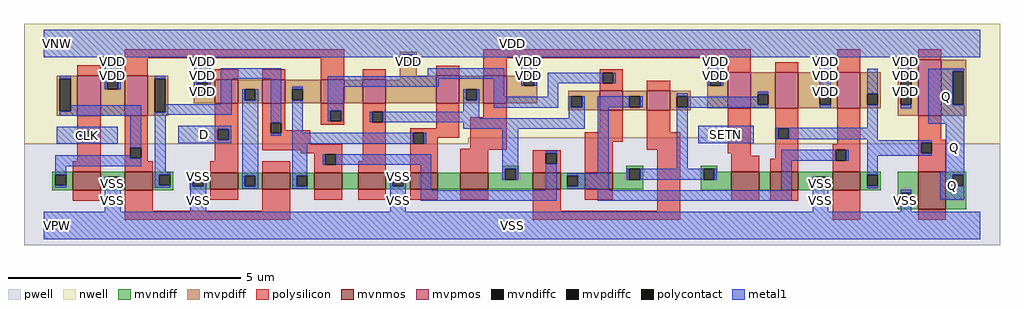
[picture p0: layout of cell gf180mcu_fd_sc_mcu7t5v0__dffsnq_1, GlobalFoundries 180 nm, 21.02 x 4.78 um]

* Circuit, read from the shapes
.subckt gf180mcu_fd_sc_mcu7t5v0__dffsnq_1 D SETN CLK Q VDD VNW VPW VSS
XM1 VSS CLK n1 VPW nfet_06v0 w=0.405u l=0.6u
XM2 n2 n1 VSS VPW nfet_06v0 w=0.405u l=0.6u
XM3 n3 D VSS VPW nfet_06v0 w=0.36u l=0.6u
XM4 n4 n1 n3 VPW nfet_06v0 w=0.36u l=0.6u
XM5 n5 n2 n4 VPW nfet_06v0 w=0.36u l=0.6u
XM6 VSS n6 n5 VPW nfet_06v0 w=0.36u l=0.6u
XM7 n7 n4 VSS VPW nfet_06v0 w=0.36u l=0.6u
XM8 n6 SETN n7 VPW nfet_06v0 w=0.36u l=0.6u
XM9 n8 n2 n6 VPW nfet_06v0 w=0.36u l=0.6u
XM10 n9 n1 n8 VPW nfet_06v0 w=0.36u l=0.6u
XM11 n10 SETN n9 VPW nfet_06v0 w=0.405u l=0.6u
XM12 VSS n11 n10 VPW nfet_06v0 w=0.405u l=0.6u
XM13 n11 n8 VSS VPW nfet_06v0 w=0.405u l=0.6u
XM14 Q n11 VSS VPW nfet_06v0 w=0.815u l=0.6u
XM15 VDD CLK n1 VNW pfet_06v0 w=0.865u l=0.5u
XM16 n2 n1 VDD VNW pfet_06v0 w=0.865u l=0.5u
XM17 n3 D VDD VNW pfet_06v0 w=0.505u l=0.5u
XM18 n4 n2 n3 VNW pfet_06v0 w=0.505u l=0.5u
XM19 n12 n1 n4 VNW pfet_06v0 w=0.505u l=0.5u
XM20 VDD n6 n12 VNW pfet_06v0 w=0.505u l=0.5u
XM21 n6 n4 VDD VNW pfet_06v0 w=0.585u l=0.5u
XM22 VDD SETN n6 VNW pfet_06v0 w=0.585u l=0.5u
XM23 n8 n1 n6 VNW pfet_06v0 w=0.415u l=0.5u
XM24 n9 n2 n8 VNW pfet_06v0 w=0.415u l=0.5u
XM25 n9 SETN VDD VNW pfet_06v0 w=0.78u l=0.5u
XM26 VDD n11 n9 VNW pfet_06v0 w=0.78u l=0.5u
XM27 n11 n8 VDD VNW pfet_06v0 w=0.78u l=0.5u
XM28 Q n11 VDD VNW pfet_06v0 w=1.215u l=0.5u
.ends

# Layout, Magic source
magic
tech gf180mcuD
magscale 1 10
<< nwell >>
rect -86 377 4118 870
rect -86 352 1827 377
rect 3033 352 4118 377
<< pwell >>
rect 1827 352 3033 377
rect -86 -86 4118 352
<< mvnmos >>
rect 124 151 244 232
rect 348 151 468 232
rect 716 156 836 228
rect 940 156 1060 228
rect 1164 156 1284 228
rect 1353 156 1473 228
rect 1577 156 1697 228
rect 1793 156 1913 228
rect 2105 156 2225 228
rect 2329 156 2449 228
rect 2961 151 3081 232
rect 3129 151 3249 232
rect 3397 151 3517 232
rect 3765 69 3885 232
<< mvpmos >>
rect 144 472 244 645
rect 348 472 448 645
rect 736 527 836 628
rect 940 527 1040 628
rect 1193 527 1293 628
rect 1373 527 1473 628
rect 1689 527 1789 644
rect 1893 527 1993 644
rect 2393 497 2493 580
rect 2597 497 2697 580
rect 2945 504 3045 660
rect 3149 504 3249 660
rect 3417 504 3517 660
rect 3765 472 3865 715
<< mvndiff >>
rect 36 219 124 232
rect 36 173 49 219
rect 95 173 124 219
rect 36 151 124 173
rect 244 210 348 232
rect 244 164 273 210
rect 319 164 348 210
rect 244 151 348 164
rect 468 219 556 232
rect 1973 244 2045 257
rect 1973 228 1986 244
rect 468 173 497 219
rect 543 173 556 219
rect 468 151 556 173
rect 628 215 716 228
rect 628 169 641 215
rect 687 169 716 215
rect 628 156 716 169
rect 836 215 940 228
rect 836 169 865 215
rect 911 169 940 215
rect 836 156 940 169
rect 1060 215 1164 228
rect 1060 169 1089 215
rect 1135 169 1164 215
rect 1060 156 1164 169
rect 1284 156 1353 228
rect 1473 215 1577 228
rect 1473 169 1502 215
rect 1548 169 1577 215
rect 1473 156 1577 169
rect 1697 156 1793 228
rect 1913 198 1986 228
rect 2032 228 2045 244
rect 2509 244 2581 257
rect 2509 228 2522 244
rect 2032 198 2105 228
rect 1913 156 2105 198
rect 2225 215 2329 228
rect 2225 169 2254 215
rect 2300 169 2329 215
rect 2225 156 2329 169
rect 2449 198 2522 228
rect 2568 198 2581 244
rect 2449 156 2581 198
rect 2829 244 2901 257
rect 2829 198 2842 244
rect 2888 232 2901 244
rect 2888 198 2961 232
rect 2829 151 2961 198
rect 3081 151 3129 232
rect 3249 210 3397 232
rect 3249 164 3322 210
rect 3368 164 3397 210
rect 3249 151 3397 164
rect 3517 218 3605 232
rect 3517 172 3546 218
rect 3592 172 3605 218
rect 3517 151 3605 172
rect 3677 142 3765 232
rect 3677 96 3690 142
rect 3736 96 3765 142
rect 3677 69 3765 96
rect 3885 218 3973 232
rect 3885 172 3914 218
rect 3960 172 3973 218
rect 3885 69 3973 172
<< mvpdiff >>
rect 56 632 144 645
rect 56 492 69 632
rect 115 492 144 632
rect 56 472 144 492
rect 244 632 348 645
rect 244 586 273 632
rect 319 586 348 632
rect 244 472 348 586
rect 448 632 536 645
rect 448 488 477 632
rect 523 488 536 632
rect 1533 735 1605 748
rect 1533 689 1546 735
rect 1592 689 1605 735
rect 1533 644 1605 689
rect 2053 647 2125 660
rect 2053 644 2066 647
rect 1533 628 1689 644
rect 646 615 736 628
rect 646 569 659 615
rect 705 569 736 615
rect 646 527 736 569
rect 836 586 940 628
rect 836 540 865 586
rect 911 540 940 586
rect 836 527 940 540
rect 1040 586 1193 628
rect 1040 540 1069 586
rect 1115 540 1193 586
rect 1040 527 1193 540
rect 1293 527 1373 628
rect 1473 527 1689 628
rect 1789 586 1893 644
rect 1789 540 1818 586
rect 1864 540 1893 586
rect 1789 527 1893 540
rect 1993 601 2066 644
rect 2112 601 2125 647
rect 1993 527 2125 601
rect 3677 665 3765 715
rect 2857 647 2945 660
rect 2857 601 2870 647
rect 2916 601 2945 647
rect 2259 556 2393 580
rect 448 472 536 488
rect 2259 510 2272 556
rect 2318 510 2393 556
rect 2259 497 2393 510
rect 2493 556 2597 580
rect 2493 510 2522 556
rect 2568 510 2597 556
rect 2493 497 2597 510
rect 2697 556 2785 580
rect 2697 510 2726 556
rect 2772 510 2785 556
rect 2697 497 2785 510
rect 2857 504 2945 601
rect 3045 566 3149 660
rect 3045 520 3074 566
rect 3120 520 3149 566
rect 3045 504 3149 520
rect 3249 567 3417 660
rect 3249 521 3342 567
rect 3388 521 3417 567
rect 3249 504 3417 521
rect 3517 567 3605 660
rect 3517 521 3546 567
rect 3592 521 3605 567
rect 3517 504 3605 521
rect 3677 521 3690 665
rect 3736 521 3765 665
rect 3677 472 3765 521
rect 3865 665 3973 715
rect 3865 521 3914 665
rect 3960 521 3973 665
rect 3865 472 3973 521
<< mvndiffc >>
rect 49 173 95 219
rect 273 164 319 210
rect 497 173 543 219
rect 641 169 687 215
rect 865 169 911 215
rect 1089 169 1135 215
rect 1502 169 1548 215
rect 1986 198 2032 244
rect 2254 169 2300 215
rect 2522 198 2568 244
rect 2842 198 2888 244
rect 3322 164 3368 210
rect 3546 172 3592 218
rect 3690 96 3736 142
rect 3914 172 3960 218
<< mvpdiffc >>
rect 69 492 115 632
rect 273 586 319 632
rect 477 488 523 632
rect 1546 689 1592 735
rect 659 569 705 615
rect 865 540 911 586
rect 1069 540 1115 586
rect 1818 540 1864 586
rect 2066 601 2112 647
rect 2870 601 2916 647
rect 2272 510 2318 556
rect 2522 510 2568 556
rect 2726 510 2772 556
rect 3074 520 3120 566
rect 3342 521 3388 567
rect 3546 521 3592 567
rect 3690 521 3736 665
rect 3914 521 3960 665
<< polysilicon >>
rect 348 720 1293 760
rect 144 645 244 690
rect 348 645 448 720
rect 736 628 836 672
rect 940 628 1040 672
rect 1193 628 1293 720
rect 1373 628 1473 672
rect 1893 720 3045 760
rect 1689 644 1789 688
rect 1893 644 1993 720
rect 2393 659 2493 672
rect 2945 660 3045 720
rect 3149 660 3249 704
rect 3417 660 3517 760
rect 3765 715 3865 760
rect 2393 613 2406 659
rect 2452 613 2493 659
rect 2393 580 2493 613
rect 2597 580 2697 624
rect 144 406 244 472
rect 144 360 157 406
rect 203 360 244 406
rect 144 276 244 360
rect 124 232 244 276
rect 348 336 448 472
rect 348 290 372 336
rect 418 290 448 336
rect 348 276 448 290
rect 736 415 836 527
rect 736 369 749 415
rect 795 369 836 415
rect 736 276 836 369
rect 940 443 1040 527
rect 940 397 977 443
rect 1023 410 1040 443
rect 1193 494 1293 527
rect 1193 448 1234 494
rect 1280 448 1293 494
rect 1193 435 1293 448
rect 1373 491 1473 527
rect 1373 445 1414 491
rect 1460 445 1473 491
rect 1023 397 1147 410
rect 940 351 1147 397
rect 940 324 1284 351
rect 1107 311 1284 324
rect 1164 307 1284 311
rect 348 232 468 276
rect 716 228 836 276
rect 940 228 1060 276
rect 1164 261 1211 307
rect 1257 261 1284 307
rect 1373 276 1473 445
rect 1689 419 1789 527
rect 1893 467 1993 527
rect 1164 228 1284 261
rect 1353 228 1473 276
rect 1577 399 1789 419
rect 1577 353 1590 399
rect 1636 379 1789 399
rect 1636 353 1697 379
rect 1577 228 1697 353
rect 1837 331 1993 467
rect 2393 401 2493 497
rect 1793 327 1993 331
rect 2329 361 2493 401
rect 2597 401 2697 497
rect 2945 415 3045 504
rect 1793 228 1913 327
rect 2105 311 2225 324
rect 2105 265 2162 311
rect 2208 265 2225 311
rect 2105 228 2225 265
rect 2329 228 2449 361
rect 2597 327 2741 401
rect 124 107 244 151
rect 348 64 468 151
rect 716 112 836 156
rect 940 64 1060 156
rect 1164 112 1284 156
rect 1353 112 1473 156
rect 1577 112 1697 156
rect 1793 112 1913 156
rect 348 24 1060 64
rect 2105 64 2225 156
rect 2329 112 2449 156
rect 2641 64 2741 327
rect 2945 369 2958 415
rect 3004 369 3045 415
rect 2945 311 3045 369
rect 2961 301 3045 311
rect 3149 419 3249 504
rect 3149 373 3162 419
rect 3208 373 3249 419
rect 2961 232 3081 301
rect 3149 288 3249 373
rect 3417 351 3517 504
rect 3129 232 3249 288
rect 3397 326 3517 351
rect 3397 280 3410 326
rect 3456 280 3517 326
rect 3397 232 3517 280
rect 3765 370 3865 472
rect 3765 357 3885 370
rect 3765 311 3778 357
rect 3824 311 3885 357
rect 3765 232 3885 311
rect 2961 107 3081 151
rect 3129 107 3249 151
rect 2105 24 2741 64
rect 3397 24 3517 151
rect 3765 24 3885 69
<< polycontact >>
rect 2406 613 2452 659
rect 157 360 203 406
rect 372 290 418 336
rect 749 369 795 415
rect 977 397 1023 443
rect 1234 448 1280 494
rect 1414 445 1460 491
rect 1211 261 1257 307
rect 1590 353 1636 399
rect 2162 265 2208 311
rect 2958 369 3004 415
rect 3162 373 3208 419
rect 3410 280 3456 326
rect 3778 311 3824 357
<< metal1 >>
rect 0 735 4032 844
rect 0 724 1546 735
rect 69 632 115 645
rect 262 632 330 724
rect 262 586 273 632
rect 319 586 330 632
rect 477 632 523 645
rect 115 492 418 519
rect 69 472 418 492
rect 56 406 318 426
rect 56 360 157 406
rect 203 360 318 406
rect 56 353 318 360
rect 372 336 418 472
rect 49 290 372 302
rect 49 256 418 290
rect 648 615 716 724
rect 1535 689 1546 724
rect 1592 724 4032 735
rect 1592 689 1603 724
rect 648 569 659 615
rect 705 569 716 615
rect 762 632 1023 678
rect 1654 643 1983 678
rect 762 523 808 632
rect 523 488 808 523
rect 477 476 808 488
rect 854 540 865 586
rect 911 540 922 586
rect 49 219 95 256
rect 477 230 524 476
rect 578 415 806 430
rect 578 369 749 415
rect 795 369 806 415
rect 578 354 806 369
rect 477 219 543 230
rect 49 162 95 173
rect 262 164 273 210
rect 319 164 330 210
rect 262 60 330 164
rect 477 173 497 219
rect 854 215 922 540
rect 977 443 1023 632
rect 1223 632 1983 643
rect 1223 597 1700 632
rect 977 386 1023 397
rect 1069 586 1115 597
rect 1069 399 1115 540
rect 1223 494 1291 597
rect 1223 448 1234 494
rect 1280 448 1291 494
rect 1807 540 1818 586
rect 1864 540 1875 586
rect 1807 491 1875 540
rect 1937 555 1983 632
rect 2055 647 2123 724
rect 2055 601 2066 647
rect 2112 601 2123 647
rect 2169 613 2406 659
rect 2452 613 2463 659
rect 2859 647 2927 724
rect 2169 555 2215 613
rect 2859 601 2870 647
rect 2916 601 2927 647
rect 2726 556 2772 569
rect 1937 508 2215 555
rect 2261 510 2272 556
rect 2318 510 2329 556
rect 1403 445 1414 491
rect 1460 462 1875 491
rect 2261 462 2329 510
rect 1460 445 2329 462
rect 1807 416 2329 445
rect 2386 510 2522 556
rect 2568 510 2579 556
rect 3074 566 3120 577
rect 2772 520 3074 555
rect 2772 510 3120 520
rect 477 162 543 173
rect 630 169 641 215
rect 687 169 698 215
rect 630 60 698 169
rect 854 169 865 215
rect 911 169 922 215
rect 854 158 922 169
rect 1069 353 1590 399
rect 1636 353 1647 399
rect 1069 215 1135 353
rect 1200 261 1211 307
rect 1257 261 1668 307
rect 1069 169 1089 215
rect 1069 158 1135 169
rect 1491 169 1502 215
rect 1548 169 1559 215
rect 1491 60 1559 169
rect 1622 152 1668 261
rect 1975 244 2043 416
rect 1975 198 1986 244
rect 2032 198 2043 244
rect 2162 311 2208 323
rect 2162 152 2208 265
rect 2386 226 2432 510
rect 2726 508 3120 510
rect 3342 567 3388 724
rect 2726 244 2772 508
rect 3342 506 3388 521
rect 3546 567 3592 676
rect 2818 415 3057 430
rect 3546 421 3592 521
rect 3690 665 3736 724
rect 3690 506 3736 521
rect 3809 665 3963 676
rect 3809 521 3914 665
rect 3960 521 3963 665
rect 3809 438 3963 521
rect 2818 369 2958 415
rect 3004 369 3057 415
rect 3151 419 3592 421
rect 3151 373 3162 419
rect 3208 373 3592 419
rect 3151 372 3592 373
rect 2818 354 3057 369
rect 3546 368 3592 372
rect 3546 357 3824 368
rect 3176 280 3410 326
rect 3456 280 3467 326
rect 3176 279 3467 280
rect 3546 311 3778 357
rect 3546 300 3824 311
rect 2254 215 2432 226
rect 2300 169 2432 215
rect 2511 198 2522 244
rect 2568 198 2842 244
rect 2888 198 2899 244
rect 2254 158 2432 169
rect 1622 106 2208 152
rect 2386 152 2432 158
rect 3176 152 3222 279
rect 3546 218 3592 300
rect 3885 232 3963 438
rect 2386 106 3222 152
rect 3311 164 3322 210
rect 3368 164 3379 210
rect 3311 60 3379 164
rect 3546 161 3592 172
rect 3860 218 3963 232
rect 3860 172 3914 218
rect 3960 172 3963 218
rect 3690 142 3736 153
rect 3860 110 3963 172
rect 3690 60 3736 96
rect 0 -60 4032 60
<< labels >>
flabel metal1 s 1491 210 1559 215 0 FreeSans 600 0 0 0 VSS
port 8 nsew ground bidirectional abutment
flabel metal1 s 56 353 318 426 0 FreeSans 600 0 0 0 CLK
port 3 nsew clock input
flabel metal1 s 0 724 4032 844 0 FreeSans 600 0 0 0 VDD
port 5 nsew power bidirectional abutment
flabel metal1 s 578 354 806 430 0 FreeSans 600 0 0 0 D
port 1 nsew default input
flabel metal1 s 3809 438 3963 676 0 FreeSans 600 0 0 0 Q
port 4 nsew default output
flabel metal1 s 2818 354 3057 430 0 FreeSans 600 0 0 0 SETN
port 2 nsew default input
flabel nwell s 10 734 110 834 0 FreeSans 400 0 0 0 VNW
port 6 nsew power bidirectional
flabel pwell s 10 -50 110 50 0 FreeSans 400 0 0 0 VPW
port 7 nsew ground bidirectional
rlabel metal1 s 3885 232 3963 438 1 Q
port 4 nsew default output
rlabel metal1 s 3860 110 3963 232 1 Q
port 4 nsew default output
rlabel metal1 s 3690 689 3736 724 1 VDD
port 5 nsew power bidirectional abutment
rlabel metal1 s 3342 689 3388 724 1 VDD
port 5 nsew power bidirectional abutment
rlabel metal1 s 2859 689 2927 724 1 VDD
port 5 nsew power bidirectional abutment
rlabel metal1 s 2055 689 2123 724 1 VDD
port 5 nsew power bidirectional abutment
rlabel metal1 s 1535 689 1603 724 1 VDD
port 5 nsew power bidirectional abutment
rlabel metal1 s 648 689 716 724 1 VDD
port 5 nsew power bidirectional abutment
rlabel metal1 s 262 689 330 724 1 VDD
port 5 nsew power bidirectional abutment
rlabel metal1 s 3690 601 3736 689 1 VDD
port 5 nsew power bidirectional abutment
rlabel metal1 s 3342 601 3388 689 1 VDD
port 5 nsew power bidirectional abutment
rlabel metal1 s 2859 601 2927 689 1 VDD
port 5 nsew power bidirectional abutment
rlabel metal1 s 2055 601 2123 689 1 VDD
port 5 nsew power bidirectional abutment
rlabel metal1 s 648 601 716 689 1 VDD
port 5 nsew power bidirectional abutment
rlabel metal1 s 262 601 330 689 1 VDD
port 5 nsew power bidirectional abutment
rlabel metal1 s 3690 586 3736 601 1 VDD
port 5 nsew power bidirectional abutment
rlabel metal1 s 3342 586 3388 601 1 VDD
port 5 nsew power bidirectional abutment
rlabel metal1 s 648 586 716 601 1 VDD
port 5 nsew power bidirectional abutment
rlabel metal1 s 262 586 330 601 1 VDD
port 5 nsew power bidirectional abutment
rlabel metal1 s 3690 569 3736 586 1 VDD
port 5 nsew power bidirectional abutment
rlabel metal1 s 3342 569 3388 586 1 VDD
port 5 nsew power bidirectional abutment
rlabel metal1 s 648 569 716 586 1 VDD
port 5 nsew power bidirectional abutment
rlabel metal1 s 3690 506 3736 569 1 VDD
port 5 nsew power bidirectional abutment
rlabel metal1 s 3342 506 3388 569 1 VDD
port 5 nsew power bidirectional abutment
rlabel metal1 s 630 210 698 215 1 VSS
port 8 nsew ground bidirectional abutment
rlabel metal1 s 3311 153 3379 210 1 VSS
port 8 nsew ground bidirectional abutment
rlabel metal1 s 1491 153 1559 210 1 VSS
port 8 nsew ground bidirectional abutment
rlabel metal1 s 630 153 698 210 1 VSS
port 8 nsew ground bidirectional abutment
rlabel metal1 s 262 153 330 210 1 VSS
port 8 nsew ground bidirectional abutment
rlabel metal1 s 3690 60 3736 153 1 VSS
port 8 nsew ground bidirectional abutment
rlabel metal1 s 3311 60 3379 153 1 VSS
port 8 nsew ground bidirectional abutment
rlabel metal1 s 1491 60 1559 153 1 VSS
port 8 nsew ground bidirectional abutment
rlabel metal1 s 630 60 698 153 1 VSS
port 8 nsew ground bidirectional abutment
rlabel metal1 s 262 60 330 153 1 VSS
port 8 nsew ground bidirectional abutment
rlabel metal1 s 0 -60 4032 60 1 VSS
port 8 nsew ground bidirectional abutment
<< properties >>
string FIXED_BBOX 0 0 4032 784
string GDS_END 1057872
string GDS_FILE $PDKPATH/libs.ref/gf180mcu_fd_sc_mcu7t5v0/gds/gf180mcu_fd_sc_mcu7t5v0.gds
string GDS_START 1049132
string LEFclass core
string LEFsite GF018hv5v_mcu_sc7
string LEFsymmetry X Y
<< end >>
